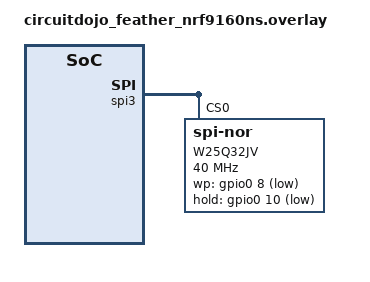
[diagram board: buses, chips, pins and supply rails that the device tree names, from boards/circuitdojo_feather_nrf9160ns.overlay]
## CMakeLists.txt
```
# SPDX-License-Identifier: Apache-2.0

cmake_minimum_required(VERSION 3.13.1)

find_package(Zephyr HINTS $ENV{ZEPHYR_BASE})
project(external_flash)

target_sources(app PRIVATE src/main.c)
```

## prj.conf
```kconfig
# fs_dirent structures are big.
CONFIG_MAIN_STACK_SIZE=2048

# SPI Flash
CONFIG_SPI=y
CONFIG_SPI_NOR=y
CONFIG_SPI_NOR_FLASH_LAYOUT_PAGE_SIZE=4096
CONFIG_SPI_NOR_SFDP_RUNTIME=y

# Enable flash operations.
CONFIG_FLASH=y
CONFIG_FLASH_MAP=y
CONFIG_FLASH_PAGE_LAYOUT=y

# Enable the LittleFS file system.
CONFIG_FILE_SYSTEM=y
CONFIG_FILE_SYSTEM_LITTLEFS=y

# Erase
# CONFIG_APP_WIPE_STORAGE=y

# Log immediate
CONFIG_LOG=y
CONFIG_LOG_MODE_IMMEDIATE=y
```

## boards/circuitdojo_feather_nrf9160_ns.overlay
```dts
/*
 * Copyright (c) 2020 Circuit Dojo LLC
 *
 * SPDX-License-Identifier: Apache-2.0
 */

/ {
	chosen {
		nordic,pm-ext-flash = &w25q32jv;
	};
};
```

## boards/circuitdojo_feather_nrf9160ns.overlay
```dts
/*
 * Copyright (c) 2020 Circuit Dojo LLC
 *
 * SPDX-License-Identifier: Apache-2.0
 */


&spi3 {
    /delete-node/ w25q16jv@0;

    w25q32jv: w25q32jv@0 {
        compatible = "jedec,spi-nor";
        label = "W25Q32JV";
        reg = <0>;
        spi-max-frequency = <40000000>;
        wp-gpios = <&gpio0 8 GPIO_ACTIVE_LOW>;
        hold-gpios = <&gpio0 10 GPIO_ACTIVE_LOW>;
        size = <0x2000000>;
        has-dpd;
        t-enter-dpd = <3000>;
        t-exit-dpd = <30000>;
        jedec-id = [ ef 40 16  ];
    };
};
```

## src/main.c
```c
/*
 * Copyright (c) 2022 Lukasz Majewski, DENX Software Engineering GmbH
 * Copyright (c) 2020 Circuit Dojo, LLC
 * Copyright (c) 2019 Peter Bigot Consulting, LLC
 *
 * SPDX-License-Identifier: Apache-2.0
 */

/* Sample which uses the filesystem API with littlefs */

#include <stdio.h>

#include <zephyr/kernel.h>
#include <zephyr/device.h>
#include <zephyr/fs/fs.h>
#include <zephyr/fs/littlefs.h>
#include <zephyr/storage/flash_map.h>
#include <zephyr/logging/log.h>
LOG_MODULE_REGISTER(main);

/* Used to determine if FS is in good state */
#define NOR_STORAGE_ERASED_ON_BOOT "/lfs/erased"

/* Matches LFS_NAME_MAX */
#define MAX_PATH_LEN 255

FS_LITTLEFS_DECLARE_DEFAULT_CONFIG(storage);
static struct fs_mount_t lfs_storage_mnt = {
	.type = FS_LITTLEFS,
	.fs_data = &storage,
	.storage_dev = (void *)FLASH_AREA_ID(littlefs_storage),
	.mnt_point = "/lfs",
};

static int nor_storage_erase(void)
{
	int err;
	struct fs_mount_t *mp = &lfs_storage_mnt;
	unsigned int id = (uintptr_t)mp->storage_dev;
	const struct flash_area *pfa;

	/* Unmount if mounted */
	fs_unmount(&lfs_storage_mnt);

	err = flash_area_open(id, &pfa);
	if (err < 0)
	{
		LOG_ERR("FAIL: unable to find flash area %u: %d",
				id, err);
		return err;
	}

	LOG_INF("Area %u at 0x%x for %u bytes",
			id, (unsigned int)pfa->fa_off,
			(unsigned int)pfa->fa_size);

	LOG_INF("Erasing flash area ... ");
	err = flash_area_erase(pfa, 0, pfa->fa_size);
	LOG_INF("Done. Code: %i", err);

	if (err)
	{
		LOG_ERR("Failed to erase storage. (err: %d)", err);
		return err;
	}

	flash_area_close(pfa);

	return 0;
}

int nor_storage_init(void)
{
	int err;
	struct fs_dirent dirent;
	struct fs_statvfs sbuf;

	/* Mount filesystem */
	err = fs_mount(&lfs_storage_mnt);
	if (err)
		return err;

	err = fs_statvfs(lfs_storage_mnt.mnt_point, &sbuf);
	if (err < 0)
		LOG_ERR("statvfs: %d", err);

	LOG_INF("bsize = %lu ; frsize = %lu ; blocks = %lu ; bfree = %lu",
			sbuf.f_bsize, sbuf.f_frsize,
			sbuf.f_blocks, sbuf.f_bfree);

	/* Make sure the flash has been erased */
	err = fs_stat(NOR_STORAGE_ERASED_ON_BOOT, &dirent);
	if (err)
	{
		LOG_INF("Erasing storage!");

		err = nor_storage_erase();
		if (err < 0)
			return err;

		/* Re-mount */
		err = fs_mount(&lfs_storage_mnt);
		if (err)
			return err;

		/* Create folder */
		err = fs_mkdir(NOR_STORAGE_ERASED_ON_BOOT);
		if (err)
			return err;
	}

	return 0;
}

static int nor_storage_increment(char *fname)
{
	uint8_t boot_count = 0;
	struct fs_file_t file;
	int rc, ret;

	fs_file_t_init(&file);
	rc = fs_open(&file, fname, FS_O_CREATE | FS_O_RDWR);
	if (rc < 0)
	{
		LOG_ERR("FAIL: open %s: %d", fname, rc);
		return rc;
	}

	rc = fs_read(&file, &boot_count, sizeof(boot_count));
	if (rc < 0)
	{
		LOG_ERR("FAIL: read %s: [rd:%d]", fname, rc);
		goto out;
	}
	LOG_PRINTK("%s read count:%u (bytes: %d)\n", fname, boot_count, rc);

	rc = fs_seek(&file, 0, FS_SEEK_SET);
	if (rc < 0)
	{
		LOG_ERR("FAIL: seek %s: %d", fname, rc);
		goto out;
	}

	boot_count += 1;
	rc = fs_write(&file, &boot_count, sizeof(boot_count));
	if (rc < 0)
	{
		LOG_ERR("FAIL: write %s: %d", fname, rc);
		goto out;
	}

	LOG_PRINTK("%s write new boot count %u: [wr:%d]\n", fname,
			   boot_count, rc);

out:
	ret = fs_close(&file);
	if (ret < 0)
	{
		LOG_ERR("FAIL: close %s: %d", fname, ret);
		return ret;
	}

	return (rc < 0 ? rc : 0);
}

int main(void)
{
	int err;

	LOG_INF("External Flash on %s\n", CONFIG_BOARD);

	err = nor_storage_init();
	if (err < 0)
	{
		LOG_ERR("FAIL: nor_storage_init: %d", err);
		return err;
	}

	return nor_storage_increment("/lfs/boot_count");
}
```
